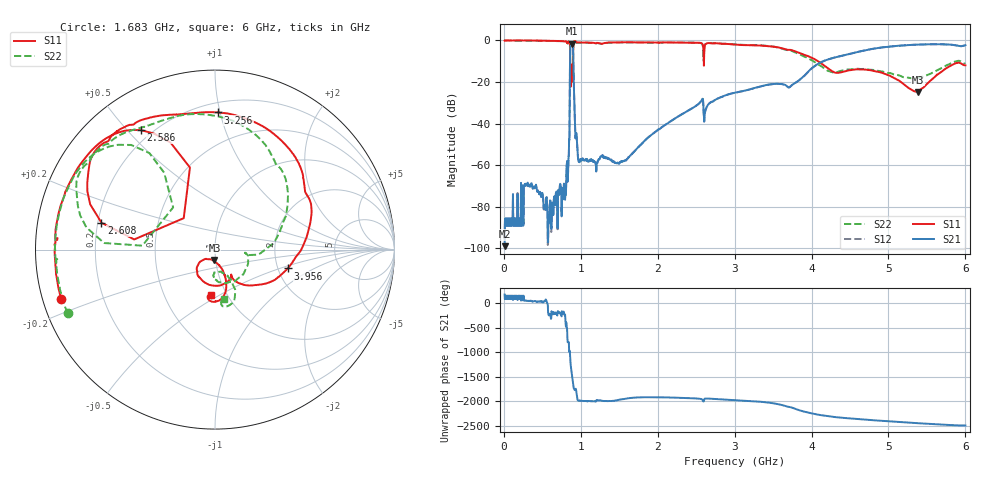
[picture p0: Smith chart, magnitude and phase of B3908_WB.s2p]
! Matrix data file written by TouchstoneData, EPCOS AG
! FILENAME: "B3908.WB.s2p_newformat"
! COMMENT: "(B3908.WB.s2p)"
! INFO: nport=2, nfreq=1601
! DATE: "Thu Apr 29 09:37:00 2010"
! USER: "Michael Schemies"
! port | pin | signal
!  1  |  2  |  in
!  2  |  5  |  out
# MHZ S MA R 50
! freq  magS11 angS11  magS21 angS21  magS12 angS12  magS22 angS22
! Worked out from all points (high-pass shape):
!   1601 points, 10 MHz to 6 GHz, reference 50 ohm
!   highest |S21| = -1.59 dB at 882.3 MHz (marker M1); lowest = -99.0 dB at 10 MHz (marker M2)
!   |S21| within 3 dB of the highest: 863 MHz to 900 MHz (37 MHz wide, 4.2 % of centre); 4.713 GHz to end of sweep
!   lowest |S11| = -24.8 dB at 5.386 GHz (marker M3), VSWR 1.12, Z = 49.4 - j5.69 ohm
!   |S11| at or under -10 dB: 861.8 MHz to 899.5 MHz (37.72 MHz wide, 4.28 % of centre); 2.599275 GHz to 2.602196 GHz (2.921 MHz wide, 0.112 % of centre); 4.084 GHz to end of sweep
!   |S22| runs from -20.8 to 0.0 dB; largest |S21 - S12| = 0.01
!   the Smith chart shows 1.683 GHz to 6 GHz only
!   S11 on the Smith chart (normalised r, x): 1.683 GHz: 0.05, -0.16; 2.586 GHz: 0.16, +0.55; 2.608 GHz: 0.21, +0.11; 3.256 GHz: 0.27, +0.99; 3.956 GHz: 2.26, -0.57; 6 GHz: 0.84, -0.45
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10  0.9906 -2.1  1.118e-05 174.7  1.648e-05 -179.8  0.9867 -1.8
227.1375  0.9988 -1.9  3.511e-05 82.3  4.539e-05 68.4  0.9975 -1.7
294.525  0.9974 -41.6  0.0003328 51.8  0.0003412 52.3  0.9942 -40.5
594.025  0.9823 -82.6  7.854e-05 145.2  7.708e-05 145.4  0.9769 -80.3
777.4688  0.9493 -115.7  0.0002202 -172.0  0.000227 -170.7  0.9458 -112.8
822.3937  0.8598 -134.8  0.001243 -175.6  0.001245 -175.9  0.8927 -135.2
882.2938  0.09996 66.2  0.8324 17.7  0.8304 17.8  0.1006 73.7
915.9875  0.9552 -55.1  0.03344 42.5  0.0334 42.7  0.9506 -50.9
953.425  0.8971 -89.9  0.003041 -125.0  0.003041 -124.9  0.8904 -86.1
1009.581  0.8905 -104.5  0.001271 171.4  0.001275 171.5  0.8826 -100.7
1683.456  0.8998 -162.1  0.002025 -125.8  0.002021 -125.7  0.8946 -156.6
2009.162  0.8899 176.7  0.007211 -117.3  0.007195 -117.3  0.8868 -176.6
2585.7  0.783 121.8  0.0394 -177.7  0.03932 -177.5  0.7469 128.7
2608.162  0.65 166.7  0.01438 -148.0  0.01436 -147.9  0.7265 170.3
3005  0.7953 109.4  0.05529 -176.2  0.05521 -176.0  0.801 122.9
3255.831  0.7644 88.7  0.07146 163.0  0.07133 163.1  0.772 104.8
3955.912  0.4185 -14.5  0.1773 -67.1  0.1771 -67.0  0.3717 15.0
4004.581  0.3818 -24.3  0.215 -84.6  0.2143 -84.4  0.333 7.5
4528.706  0.1956 -72.8  0.4911 169.8  0.4894 170.0  0.2025 -32.5
5004.163  0.1449 -134.5  0.7113 113.9  0.7084 114.1  0.1654 -91.6
5386.025  0.05751 -92.8  0.7952 75.7  0.7933 76.0  0.1265 -77.3
6000  0.2515 -95.3  0.7676 30.4  0.7658 30.6  0.2777 -79.7
